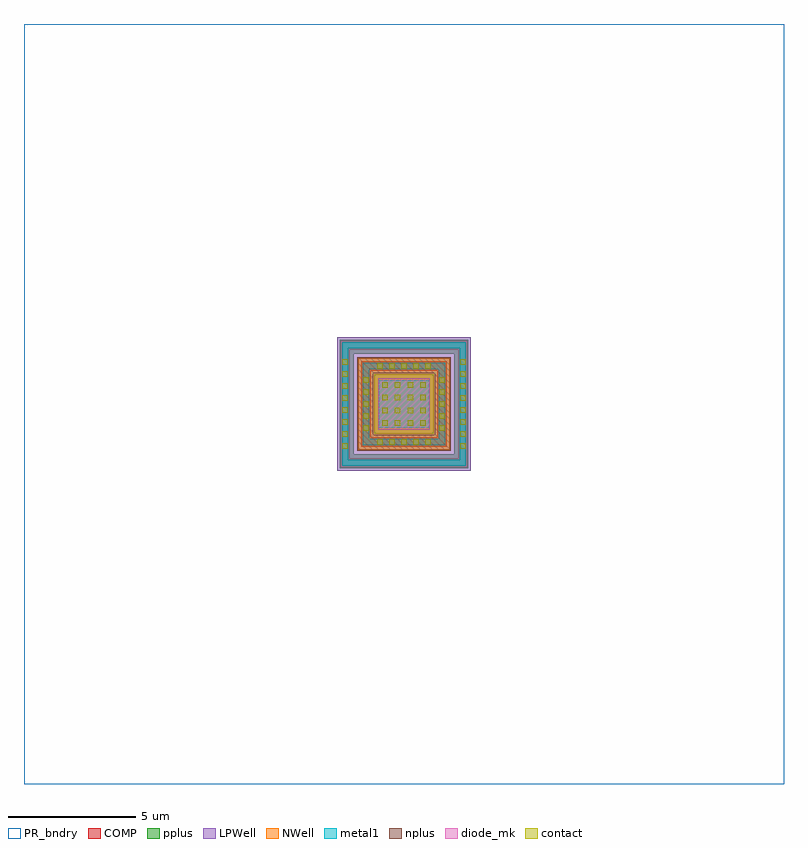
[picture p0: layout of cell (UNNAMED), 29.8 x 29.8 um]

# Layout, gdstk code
import gdstk
lib = gdstk.Library(unit=1e-6, precision=1e-09)
def R(c, l, rs):  # rectangles x0, y0, x1, y1
    for r in rs: c.add(gdstk.rectangle(r[:2], r[2:], *l))
def A(c, l, x, y, w, h, nx, ny, dx, dy):  # array of equal rectangles
    R(c, l, [(x+i*dx, y+j*dy, x+i*dx+w, y+j*dy+h) for i in range(nx) for j in range(ny)])
PR_bndry = (0, 0)
NWell = (21, 0)
COMP = (22, 0)
pplus = (31, 0)
nplus = (32, 0)
contact = (33, 0)
metal1 = (34, 0)
diode_mk = (115, 5)
LPWell = (204, 0)

c__unnamed_ = lib.new_cell('(UNNAMED)')
R(c__unnamed_, PR_bndry, [(-14.9,-14.9,14.9,14.9)])
R(c__unnamed_, NWell, [(-1.8,-1.8,1.8,1.8)])
R(c__unnamed_, COMP, [(-2.49,-2.49,2.49,-2.13), (-2.49,-2.13,-2.13,2.13), (2.13,-2.13,2.49,2.13), (-1.68,-1.68,1.68,-1.3), (-1.68,-1.3,-1.3,1.3), (1.3,-1.3,1.68,1.3), (-1,-1,1,1), (-1.68,1.3,1.68,1.68), (-2.49,2.13,2.49,2.49)])
R(c__unnamed_, pplus, [(-2.51,-2.51,2.51,-2.005), (-2.52,-2.005,2.52,-1.97), (-2.52,-1.97,-1.97,1.97), (1.97,-1.97,2.52,1.97), (-1.16,-1.16,1.16,1.16), (-2.52,1.97,2.52,2.005), (-2.51,2.005,2.51,2.51)])
R(c__unnamed_, nplus, [(-1.84,-1.84,1.84,-1.21), (-1.84,-1.21,-1.21,1.21), (1.21,-1.21,1.84,1.21), (-1.84,1.21,1.84,1.84)])
A(c__unnamed_, contact, -2.42, -1.755, 0.22, 0.22, 1, 8, 0, 0.47)
A(c__unnamed_, contact, 2.2, -1.755, 0.22, 0.22, 1, 8, 0, 0.47)
A(c__unnamed_, contact, -1.05, -1.6, 0.22, 0.22, 5, 2, 0.47, 2.98)
A(c__unnamed_, contact, -1.6, -1.05, 0.22, 0.22, 1, 5, 0, 0.47)
A(c__unnamed_, contact, 1.38, -1.05, 0.22, 0.22, 1, 5, 0, 0.47)
A(c__unnamed_, contact, -0.86, -0.86, 0.22, 0.22, 4, 4, 0.5, 0.5)
R(c__unnamed_, metal1, [(-2.425,-2.425,2.425,-2.195), (-2.425,-2.195,-2.195,2.195), (2.195,-2.195,2.425,2.195), (-1.615,-1.615,1.615,-1.365), (-1.615,-1.365,-1.365,1.365), (1.365,-1.365,1.615,1.365), (-0.99,-0.935,0.99,0.935), (-1.615,1.365,1.615,1.615), (-2.425,2.195,2.425,2.425)])
R(c__unnamed_, diode_mk, [(-1,-1,1,1)])
R(c__unnamed_, LPWell, [(-2.61,-2.61,2.61,-1.8), (-2.61,-1.8,-1.8,1.8), (1.8,-1.8,2.61,1.8), (-2.61,1.8,2.61,2.61)])

lib.write_gds('_UNNAMED_.gds')
